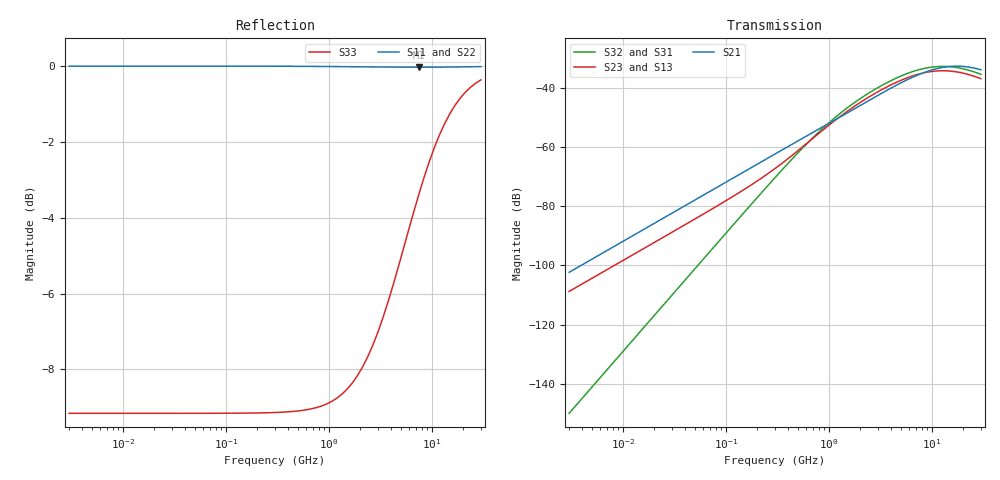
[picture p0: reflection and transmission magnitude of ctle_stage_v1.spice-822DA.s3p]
[Version] 2.0
# Hz S RI R 2000 2000 4000
[Number of Ports] 3
[Reference] 2000 2000 4000
!  Freq  ReS11  ImS11  ReS12  ImS12  ReS13  ImS13  ReS21  ImS21  ReS22  ImS22  ReS23  ImS23  ReS31  ImS31  ReS32  ImS32  ReS33  ImS33
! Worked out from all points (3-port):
!   81 points, 3 MHz to 30 GHz, reference per port
!   strongest paths, dB at 3 MHz, 30 MHz, 300 MHz, 3 GHz, 30 GHz:
!     S21: -102.3, -82.3, -62.3, -42.5, -33.8
!     S23: -108.8, -88.7, -67.2, -41.3, -36.8
!     S13: -108.8, -88.7, -67.2, -41.3, -36.8
!     S32: -150.0, -110.0, -70.3, -39.9, -35.4
!     S31: -150.0, -110.0, -70.3, -39.9, -35.4
!   lowest |S11| = 0.0 dB at 7.536 GHz (marker M1), VSWR 641.47
!   |S11| at or under -10 dB: nowhere
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[Number of Frequencies] 10
[Network Data]
3000000  1 -0.000351  2.23e-08 7.67e-06  -1.49e-08 3.64e-06
         2.23e-08 7.67e-06  1 -0.000351  1.49e-08 -3.64e-06
         -3.17e-08 -7.66e-11  3.17e-08 7.66e-11  0.3484 -0.000455
3.776776e7  1 -0.00442  4.49e-07 9.66e-05  -2.36e-06 4.6e-05
            4.49e-07 9.66e-05  1 -0.00442  2.36e-06 -4.6e-05
            -5.01e-06 2.02e-07  5.01e-06 -2.02e-07  0.3484 -0.00573
8.455149e7  0.9999 -0.00988  2.17e-06 0.000216  -1.17e-05 0.000104
            2.17e-06 0.000216  0.9999 -0.00988  1.17e-05 -0.000104
            -2.5e-05 2.28e-06  2.5e-05 -2.28e-06  0.3483 -0.0128
1.687024e8  0.9998 -0.0197  8.58e-06 0.000431  -4.56e-05 0.000214
            8.58e-06 0.000431  0.9998 -0.0197  4.56e-05 -0.000214
            -9.74e-05 1.78e-05  9.74e-05 -1.78e-05  0.3478 -0.0256
3e8  0.9992 -0.035  2.7e-05 0.000766  -0.000135 0.000414
     2.7e-05 0.000766  0.9992 -0.035  0.000135 -0.000414
     -0.00029 9.52e-05  0.00029 -9.52e-05  0.3464 -0.0453
1.503562e9  0.9834 -0.1722  0.000588 0.00373  -0.000467 0.00399
            0.000588 0.00373  0.9834 -0.1722  0.000467 -0.00399
            -0.00172 0.00427  0.00172 -0.00427  0.3082 -0.2134
3.776776e9  0.9076 -0.4133  0.00356 0.00871  0.00443 0.00976
            0.00356 0.00871  0.9076 -0.4133  -0.00443 -0.00976
            0.00395 0.012  -0.00395 -0.012  0.153 -0.4652
7.535659e9  0.6833 -0.7259  0.0121 0.012  0.0146 0.00933
            0.0121 0.012  0.6833 -0.7259  -0.0146 -0.00933
            0.0166 0.012  -0.0166 -0.012  -0.1845 -0.6538
1.503562e10  0.1482 -0.9863  0.0229 0.00368  0.0192 -0.00226
             0.0229 0.00368  0.1482 -0.9863  -0.0192 0.00226
             0.0229 -0.00206  -0.0229 0.00206  -0.6228 -0.6021
3e10  -0.4927 -0.8687  0.0178 -0.00998  0.0108 -0.00956
      0.0178 -0.00998  -0.4927 -0.8687  -0.0108 0.00956
      0.0129 -0.0112  -0.0129 0.0112  -0.8796 -0.3827
[End]
